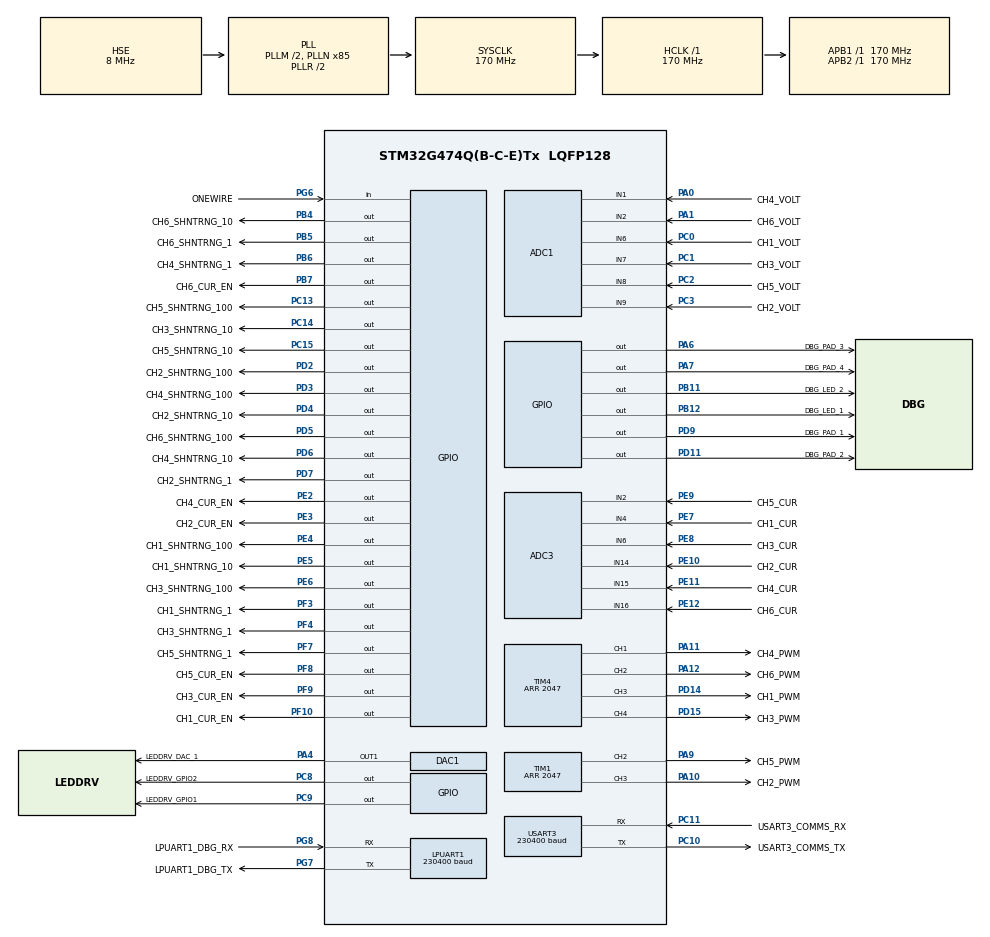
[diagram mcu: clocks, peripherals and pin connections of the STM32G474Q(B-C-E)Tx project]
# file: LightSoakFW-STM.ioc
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ADC1.Channel-1\#ChannelRegularConversion=ADC_CHANNEL_6
ADC1.Channel-2\#ChannelRegularConversion=ADC_CHANNEL_9
ADC1.Channel-3\#ChannelRegularConversion=ADC_CHANNEL_7
ADC1.Channel-4\#ChannelRegularConversion=ADC_CHANNEL_1
ADC1.Channel-5\#ChannelRegularConversion=ADC_CHANNEL_8
ADC1.Channel-6\#ChannelRegularConversion=ADC_CHANNEL_2
ADC1.DMAContinuousRequests=DISABLE
ADC1.EOCSelection=ADC_EOC_SEQ_CONV
ADC1.ExternalTrigConv=ADC_EXTERNALTRIG_T20_TRGO
ADC1.NbrOfConversion=6
ADC1.NbrOfConversionFlag=1
ADC1.OffsetNumber-1\#ChannelRegularConversion=ADC_OFFSET_NONE
ADC1.OffsetNumber-2\#ChannelRegularConversion=ADC_OFFSET_NONE
ADC1.OffsetNumber-3\#ChannelRegularConversion=ADC_OFFSET_NONE
ADC1.OffsetNumber-4\#ChannelRegularConversion=ADC_OFFSET_NONE
ADC1.OffsetNumber-5\#ChannelRegularConversion=ADC_OFFSET_NONE
ADC1.OffsetNumber-6\#ChannelRegularConversion=ADC_OFFSET_NONE
ADC1.OversamplingMode=ENABLE
ADC1.Rank-1\#ChannelRegularConversion=1
ADC1.Rank-2\#ChannelRegularConversion=2
ADC1.Rank-3\#ChannelRegularConversion=3
ADC1.Rank-4\#ChannelRegularConversion=4
ADC1.Rank-5\#ChannelRegularConversion=5
ADC1.Rank-6\#ChannelRegularConversion=6
ADC1.Ratio=ADC_OVERSAMPLING_RATIO_4
ADC1.RightBitShift=ADC_RIGHTBITSHIFT_2
ADC1.SamplingTime-1\#ChannelRegularConversion=ADC_SAMPLETIME_2CYCLES_5
ADC1.SamplingTime-2\#ChannelRegularConversion=ADC_SAMPLETIME_2CYCLES_5
ADC1.SamplingTime-3\#ChannelRegularConversion=ADC_SAMPLETIME_2CYCLES_5
ADC1.SamplingTime-4\#ChannelRegularConversion=ADC_SAMPLETIME_2CYCLES_5
ADC1.SamplingTime-5\#ChannelRegularConversion=ADC_SAMPLETIME_2CYCLES_5
ADC1.SamplingTime-6\#ChannelRegularConversion=ADC_SAMPLETIME_2CYCLES_5
ADC1.master=1
ADC3.Channel-0\#ChannelRegularConversion=ADC_CHANNEL_4
ADC3.Channel-1\#ChannelRegularConversion=ADC_CHANNEL_14
ADC3.Channel-2\#ChannelRegularConversion=ADC_CHANNEL_6
ADC3.Channel-3\#ChannelRegularConversion=ADC_CHANNEL_15
ADC3.Channel-4\#ChannelRegularConversion=ADC_CHANNEL_2
ADC3.Channel-5\#ChannelRegularConversion=ADC_CHANNEL_16
ADC3.EOCSelection=ADC_EOC_SEQ_CONV
ADC3.ExternalTrigConv=ADC_EXTERNALTRIG_T20_TRGO
ADC3.NbrOfConversion=6
ADC3.NbrOfConversionFlag=1
ADC3.OffsetNumber-0\#ChannelRegularConversion=ADC_OFFSET_NONE
ADC3.OffsetNumber-1\#ChannelRegularConversion=ADC_OFFSET_NONE
ADC3.OffsetNumber-2\#ChannelRegularConversion=ADC_OFFSET_NONE
ADC3.OffsetNumber-3\#ChannelRegularConversion=ADC_OFFSET_NONE
ADC3.OffsetNumber-4\#ChannelRegularConversion=ADC_OFFSET_NONE
ADC3.OffsetNumber-5\#ChannelRegularConversion=ADC_OFFSET_NONE
ADC3.OversamplingMode=ENABLE
ADC3.Rank-0\#ChannelRegularConversion=1
ADC3.Rank-1\#ChannelRegularConversion=2
ADC3.Rank-2\#ChannelRegularConversion=3
ADC3.Rank-3\#ChannelRegularConversion=4
ADC3.Rank-4\#ChannelRegularConversion=5
ADC3.Rank-5\#ChannelRegularConversion=6
ADC3.Ratio=ADC_OVERSAMPLING_RATIO_4
ADC3.RightBitShift=ADC_RIGHTBITSHIFT_2
ADC3.SamplingTime-0\#ChannelRegularConversion=ADC_SAMPLETIME_2CYCLES_5
ADC3.SamplingTime-1\#ChannelRegularConversion=ADC_SAMPLETIME_2CYCLES_5
ADC3.SamplingTime-2\#ChannelRegularConversion=ADC_SAMPLETIME_2CYCLES_5
ADC3.SamplingTime-3\#ChannelRegularConversion=ADC_SAMPLETIME_2CYCLES_5
ADC3.SamplingTime-4\#ChannelRegularConversion=ADC_SAMPLETIME_2CYCLES_5
ADC3.SamplingTime-5\#ChannelRegularConversion=ADC_SAMPLETIME_2CYCLES_5
ADC3.master=1
DAC1.DAC_OutputBuffer-DAC_OUT1=DAC_OUTPUTBUFFER_DISABLE
Dma.ADC1.1.Direction=DMA_PERIPH_TO_MEMORY
Dma.ADC1.1.EventEnable=DISABLE
Dma.ADC1.1.Instance=DMA1_Channel2
Dma.ADC1.1.MemDataAlignment=DMA_MDATAALIGN_HALFWORD
Dma.ADC1.1.MemInc=DMA_MINC_ENABLE
Dma.ADC1.1.Mode=DMA_NORMAL
Dma.ADC1.1.PeriphDataAlignment=DMA_PDATAALIGN_HALFWORD
Dma.ADC1.1.PeriphInc=DMA_PINC_DISABLE
Dma.ADC1.1.Polarity=HAL_DMAMUX_REQ_GEN_RISING
Dma.ADC1.1.Priority=DMA_PRIORITY_MEDIUM
Dma.ADC1.1.RequestNumber=1
Dma.ADC1.1.SignalID=NONE
Dma.ADC1.1.SyncEnable=DISABLE
Dma.ADC1.1.SyncPolarity=HAL_DMAMUX_SYNC_NO_EVENT
Dma.ADC1.1.SyncRequestNumber=1
Dma.ADC1.1.SyncSignalID=NONE
Dma.ADC3.2.Direction=DMA_PERIPH_TO_MEMORY
Dma.ADC3.2.EventEnable=DISABLE
Dma.ADC3.2.Instance=DMA1_Channel3
Dma.ADC3.2.MemDataAlignment=DMA_MDATAALIGN_HALFWORD
Dma.ADC3.2.MemInc=DMA_MINC_ENABLE
Dma.ADC3.2.Mode=DMA_NORMAL
Dma.ADC3.2.PeriphDataAlignment=DMA_PDATAALIGN_HALFWORD
Dma.ADC3.2.PeriphInc=DMA_PINC_DISABLE
Dma.ADC3.2.Polarity=HAL_DMAMUX_REQ_GEN_RISING
Dma.ADC3.2.Priority=DMA_PRIORITY_MEDIUM
Dma.ADC3.2.RequestNumber=1
Dma.ADC3.2.SignalID=NONE
Dma.ADC3.2.SyncEnable=DISABLE
Dma.ADC3.2.SyncPolarity=HAL_DMAMUX_SYNC_NO_EVENT
Dma.ADC3.2.SyncRequestNumber=1
Dma.ADC3.2.SyncSignalID=NONE
Dma.LPUART1_TX.0.Direction=DMA_MEMORY_TO_PERIPH
Dma.LPUART1_TX.0.EventEnable=DISABLE
Dma.LPUART1_TX.0.Instance=DMA1_Channel1
Dma.LPUART1_TX.0.MemDataAlignment=DMA_MDATAALIGN_BYTE
Dma.LPUART1_TX.0.MemInc=DMA_MINC_ENABLE
Dma.LPUART1_TX.0.Mode=DMA_NORMAL
Dma.LPUART1_TX.0.PeriphDataAlignment=DMA_PDATAALIGN_BYTE
Dma.LPUART1_TX.0.PeriphInc=DMA_PINC_DISABLE
Dma.LPUART1_TX.0.Polarity=HAL_DMAMUX_REQ_GEN_RISING
Dma.LPUART1_TX.0.Priority=DMA_PRIORITY_MEDIUM
Dma.LPUART1_TX.0.RequestNumber=1
Dma.LPUART1_TX.0.SignalID=NONE
Dma.LPUART1_TX.0.SyncEnable=DISABLE
Dma.LPUART1_TX.0.SyncPolarity=HAL_DMAMUX_SYNC_NO_EVENT
Dma.LPUART1_TX.0.SyncRequestNumber=1
Dma.LPUART1_TX.0.SyncSignalID=NONE
Dma.Request0=LPUART1_TX
Dma.Request1=ADC1
Dma.Request2=ADC3
LPUART1.BaudRate=230400
LPUART1.Mode=UART_MODE_TX
LPUART1.SwapParam=UART_ADVFEATURE_SWAP_ENABLE
Mcu.Family=STM32G4
Mcu.Name=STM32G474Q(B-C-E)Tx
Mcu.Package=LQFP128
NVIC.ADC1_2_IRQn=true\:0\:0\:false\:false\:true\:true\:true\:true
NVIC.ADC3_IRQn=true\:0\:0\:false\:false\:true\:true\:true\:true
NVIC.DMA1_Channel1_IRQn=true\:0\:0\:false\:false\:true\:false\:true\:true
NVIC.DMA1_Channel2_IRQn=true\:0\:0\:false\:false\:true\:false\:true\:true
NVIC.DMA1_Channel3_IRQn=true\:0\:0\:false\:false\:true\:false\:true\:true
NVIC.LPUART1_IRQn=true\:0\:0\:false\:false\:true\:true\:true\:true
NVIC.PriorityGroup=NVIC_PRIORITYGROUP_4
NVIC.TIM20_TRG_COM_IRQn=true\:0\:0\:false\:false\:true\:true\:true\:true
NVIC.TIM20_UP_IRQn=true\:0\:0\:false\:false\:true\:true\:true\:true
NVIC.TIM2_IRQn=true\:0\:0\:false\:false\:true\:true\:true\:true
NVIC.USART3_IRQn=true\:0\:0\:false\:false\:true\:true\:true\:true
PA0.GPIO_Label=CH4_VOLT
PA0.Mode=IN1-Single-Ended
PA0.Signal=ADC1_IN1
PA1.GPIO_Label=CH6_VOLT
PA1.Mode=IN2-Single-Ended
PA1.Signal=ADC1_IN2
PA10.GPIO_Label=CH2_PWM
PA10.Signal=S_TIM1_CH3
PA11.GPIO_Label=CH4_PWM
PA11.Signal=S_TIM4_CH1
PA12.GPIO_Label=CH6_PWM
PA12.Signal=S_TIM4_CH2
PA13.Mode=Trace_Asynchronous_SW
PA13.Signal=SYS_JTMS-SWDIO
PA14.Mode=Trace_Asynchronous_SW
PA14.Signal=SYS_JTCK-SWCLK
PA15.Signal=SYS_JTDI
PA4.GPIO_Label=LEDDRV_DAC_1
PA4.Signal=COMP_DAC11_group
PA5.GPIO_Label=LEDDRV_DAC_2
PA5.Signal=COMP_DAC12_group
PA6.GPIO_Label=DBG_PAD_3
PA6.Signal=GPIO_Output
PA7.GPIO_Label=DBG_PAD_4
PA7.Signal=GPIO_Output
PA9.GPIO_Label=CH5_PWM
PA9.Signal=S_TIM1_CH2
PB11.GPIO_Label=DBG_LED_2
PB11.Signal=GPIO_Output
PB12.GPIO_Label=DBG_LED_1
PB12.Signal=GPIO_Output
PB3.Mode=Trace_Asynchronous_SW
PB3.Signal=SYS_JTDO-SWO
PB4.GPIO_Label=CH6_SHNTRNG_10
PB4.Signal=GPIO_Output
PB5.GPIO_Label=CH6_SHNTRNG_1
PB5.Signal=GPIO_Output
PB6.GPIO_Label=CH4_SHNTRNG_1
PB6.Signal=GPIO_Output
PB7.GPIO_Label=CH6_CUR_EN
PB7.Signal=GPIO_Output
PC0.GPIO_Label=CH1_VOLT
PC0.Mode=IN6-Single-Ended
PC0.Signal=ADC1_IN6
PC1.GPIO_Label=CH3_VOLT
PC1.Mode=IN7-Single-Ended
PC1.Signal=ADC1_IN7
PC10.GPIO_Label=USART3_COMMS_TX
PC10.Mode=Asynchronous
PC10.Signal=USART3_TX
PC11.GPIO_Label=USART3_COMMS_RX
PC11.Mode=Asynchronous
PC11.Signal=USART3_RX
PC13.GPIO_Label=CH5_SHNTRNG_100
PC13.Signal=GPIO_Output
PC14-OSC32_IN.GPIO_Label=CH3_SHNTRNG_10
PC14-OSC32_IN.Signal=GPIO_Output
PC15-OSC32_OUT.GPIO_Label=CH5_SHNTRNG_10
PC15-OSC32_OUT.Signal=GPIO_Output
PC2.GPIO_Label=CH5_VOLT
PC2.Mode=IN8-Single-Ended
PC2.Signal=ADC1_IN8
PC3.GPIO_Label=CH2_VOLT
PC3.Mode=IN9-Single-Ended
PC3.Signal=ADC1_IN9
PC8.GPIO_Label=LEDDRV_GPIO2
PC8.Signal=GPIO_Output
PC9.GPIO_Label=LEDDRV_GPIO1
PC9.Signal=GPIO_Output
PD11.GPIO_Label=DBG_PAD_2
PD11.Signal=GPIO_Output
PD14.GPIO_Label=CH1_PWM
PD14.Signal=S_TIM4_CH3
PD15.GPIO_Label=CH3_PWM
PD15.Signal=S_TIM4_CH4
PD2.GPIO_Label=CH2_SHNTRNG_100
PD2.Signal=GPIO_Output
PD3.GPIO_Label=CH4_SHNTRNG_100
PD3.Signal=GPIO_Output
PD4.GPIO_Label=CH2_SHNTRNG_10
PD4.Signal=GPIO_Output
PD5.GPIO_Label=CH6_SHNTRNG_100
PD5.Signal=GPIO_Output
PD6.GPIO_Label=CH4_SHNTRNG_10
PD6.Signal=GPIO_Output
PD7.GPIO_Label=CH2_SHNTRNG_1
PD7.Signal=GPIO_Output
PD9.GPIO_Label=DBG_PAD_1
PD9.Signal=GPIO_Output
PE0.GPIO_Label=USART1_TEC_TX
PE0.Signal=USART1_TX
PE1.GPIO_Label=USART1_TEC_RX
PE1.Signal=USART1_RX
PE10.GPIO_Label=CH2_CUR
PE10.Mode=IN14-Single-Ended
PE10.Signal=ADC3_IN14
PE11.GPIO_Label=CH4_CUR
PE11.Mode=IN15-Single-Ended
PE11.Signal=ADC3_IN15
PE12.GPIO_Label=CH6_CUR
PE12.Mode=IN16-Single-Ended
PE12.Signal=ADC3_IN16
PE2.GPIO_Label=CH4_CUR_EN
PE2.Signal=GPIO_Output
PE3.GPIO_Label=CH2_CUR_EN
PE3.Signal=GPIO_Output
PE4.GPIO_Label=CH1_SHNTRNG_100
PE4.Signal=GPIO_Output
PE5.GPIO_Label=CH1_SHNTRNG_10
PE5.Signal=GPIO_Output
PE6.GPIO_Label=CH3_SHNTRNG_100
PE6.Signal=GPIO_Output
PE7.GPIO_Label=CH1_CUR
PE7.Mode=IN4-Single-Ended
PE7.Signal=ADC3_IN4
PE8.GPIO_Label=CH3_CUR
PE8.Mode=IN6-Single-Ended
PE8.Signal=ADC3_IN6
PE9.GPIO_Label=CH5_CUR
PE9.Mode=IN2-Single-Ended
PE9.Signal=ADC3_IN2
PF0-OSC_IN.Mode=HSE-External-Oscillator
PF0-OSC_IN.Signal=RCC_OSC_IN
PF1-OSC_OUT.Mode=HSE-External-Oscillator
PF1-OSC_OUT.Signal=RCC_OSC_OUT
PF10.GPIO_Label=CH1_CUR_EN
PF10.Signal=GPIO_Output
PF3.GPIO_Label=CH1_SHNTRNG_1
PF3.Signal=GPIO_Output
PF4.GPIO_Label=CH3_SHNTRNG_1
PF4.Signal=GPIO_Output
PF7.GPIO_Label=CH5_SHNTRNG_1
PF7.Signal=GPIO_Output
PF8.GPIO_Label=CH5_CUR_EN
PF8.Signal=GPIO_Output
PF9.GPIO_Label=CH3_CUR_EN
PF9.Signal=GPIO_Output
PG6.GPIO_Label=ONEWIRE
PG6.Signal=GPIO_Input
PG7.GPIO_Label=LPUART1_DBG_TX
PG7.Mode=Asynchronous
PG7.Signal=LPUART1_TX
PG8.GPIO_Label=LPUART1_DBG_RX
PG8.Mode=Asynchronous
PG8.Signal=LPUART1_RX
ProjectManager.HeapSize=0x400
ProjectManager.StackSize=0x4000
ProjectManager.TargetToolchain=STM32CubeIDE
RCC.ADC12Freq_Value=170000000
RCC.ADC345Freq_Value=170000000
RCC.AHBFreq_Value=170000000
RCC.APB1Freq_Value=170000000
RCC.APB1TimFreq_Value=170000000
RCC.APB2Freq_Value=170000000
RCC.APB2TimFreq_Value=170000000
RCC.CortexFreq_Value=170000000
RCC.EXTERNAL_CLOCK_VALUE=12288000
RCC.HCLKFreq_Value=170000000
RCC.HSE_VALUE=8000000
RCC.HSI48_VALUE=48000000
RCC.HSI_VALUE=16000000
RCC.LSE_VALUE=32768
RCC.PLLM=RCC_PLLM_DIV2
RCC.PLLN=85
RCC.PLLSourceVirtual=RCC_PLLSOURCE_HSE
RCC.SYSCLKFreq_VALUE=170000000
RCC.SYSCLKSource=RCC_SYSCLKSOURCE_PLLCLK
RCC.USBFreq_Value=170000000
RCC.VCOOutputFreq_Value=340000000
SH.COMP_DAC11_group.0=DAC1_OUT1,DAC_OUT1
SH.COMP_DAC12_group.0=DAC1_OUT2
SH.S_TIM1_CH2.0=TIM1_CH2,PWM Generation2 CH2
SH.S_TIM1_CH3.0=TIM1_CH3,PWM Generation3 CH3
SH.S_TIM4_CH1.0=TIM4_CH1,PWM Generation1 CH1
SH.S_TIM4_CH2.0=TIM4_CH2,PWM Generation2 CH2
SH.S_TIM4_CH3.0=TIM4_CH3,PWM Generation3 CH3
SH.S_TIM4_CH4.0=TIM4_CH4,PWM Generation4 CH4
TIM1.AutoReloadPreload=TIM_AUTORELOAD_PRELOAD_ENABLE
TIM1.Channel-PWM\ Generation2\ CH2=TIM_CHANNEL_2
TIM1.Channel-PWM\ Generation3\ CH3=TIM_CHANNEL_3
TIM1.PeriodNoDither=2047
TIM1.PulseNoDither_2=2047
TIM1.PulseNoDither_3=2047
TIM2.Prescaler=169
TIM20.PeriodNoDither=1699
TIM20.TIM_MasterOutputTrigger=TIM_TRGO_UPDATE
TIM4.AutoReloadPreload=TIM_AUTORELOAD_PRELOAD_ENABLE
TIM4.Channel-PWM\ Generation1\ CH1=TIM_CHANNEL_1
TIM4.Channel-PWM\ Generation2\ CH2=TIM_CHANNEL_2
TIM4.Channel-PWM\ Generation3\ CH3=TIM_CHANNEL_3
TIM4.Channel-PWM\ Generation4\ CH4=TIM_CHANNEL_4
TIM4.PeriodNoDither=2047
TIM4.PulseNoDither_1=2047
TIM4.PulseNoDither_2=2047
TIM4.PulseNoDither_3=2047
TIM4.PulseNoDither_4=2047
USART3.BaudRate=230400
USART3.OverSampling=UART_OVERSAMPLING_8
USART3.OverrunDisableParam=ADVFEATURE_OVERRUN_DISABLE
USART3.VirtualMode-Asynchronous=VM_ASYNC
VP_SYS_VS_DBSignals.Mode=DisableDeadBatterySignals
VP_SYS_V_VREFBUF.Mode=ExternalMode
VP_TIM20_VS_ClockSourceINT.Mode=Internal
VP_TIM2_VS_ClockSourceINT.Mode=Internal
board=custom

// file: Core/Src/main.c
/* USER CODE BEGIN Header */
/**
  ******************************************************************************
  * @file           : main.c
  * @brief          : Main program body
  ******************************************************************************
  * @attention
  *
  * Copyright (c) 2023 STMicroelectronics.
  * All rights reserved.
  *
  * This software is licensed under terms that can be found in the LICENSE file
  * in the root directory of this software component.
  * If no LICENSE file comes with this software, it is provided AS-IS.
  *
  ******************************************************************************
  */
/* USER CODE END Header */
#include "main.h"
#include "adc.h"
#include "dac.h"
#include "dma.h"
#include "usart.h"
#include "tim.h"
#include "gpio.h"

/* USER CODE BEGIN Includes */
#include "front_end_control.h"
#include "debug.h"
#include "led_control.h"
#include "micro_sec.h"
#include "daq.h"
#include "measurements.h"
#include "main_serial.h"
#include "lwshell/lwshell.h"
#include "cmd_line_support.h"
#include "ds18b20.h"
#include "UserGPIO.h"
/* USER CODE END Includes */

/* USER CODE BEGIN PV */
uint32_t temptime = 0;
uint32_t ledtemptime = 0;

/* USER CODE END PV */

void SystemClock_Config(void);

int main(void)
{

  /* MCU Configuration--------------------------------------------------------*/

  /* Reset of all peripherals, Initializes the Flash interface and the Systick. */
  HAL_Init();

  /* Configure the system clock */
  SystemClock_Config();

  /* Initialize all configured peripherals */
  MX_GPIO_Init();
  MX_DMA_Init();
  MX_ADC1_Init();
  MX_ADC3_Init();
  MX_DAC1_Init();
  MX_USART3_UART_Init();
  MX_LPUART1_UART_Init();
  MX_TIM1_Init();
  MX_TIM4_Init();
  MX_TIM20_Init();
  MX_TIM2_Init();
  /* USER CODE BEGIN 2 */

  dbg(Warning, "Booting LighSoak V1...\r\n");
  dbg(Warning, "Firmware version: %s\r\n", FW_VERSION);
  dbg(Warning, "FW compiled: %s %s\r\n", __DATE__, __TIME__);
  dbg(Warning, "System clock: %d MHz\r\n", SystemCoreClock/1000000);
  dbg(Warning, "Initializing modules...\r\n");

  mainser_init();
  fec_init();
  ledctrl_init();
  usec_init();
  daq_init();
  ds18b20_init();

  dbg(Warning, "Modules initialized!\r\n");

  HAL_Delay(1000);

  //enable CLI
  cmdsprt_setup_cli();

  dbg(Warning, "CLI initialized!\r\n");

  //turn on active LED
  //HAL_GPIO_WritePin(DBG_LED_1_GPIO_Port, DBG_LED_1_Pin, GPIO_PIN_SET);
  L1On();
  dbg(Warning, "Ready LED on.\r\n");

//  fec_set_shunt_10x(1);
//  fec_set_force_voltage(1, 0.1f);
//  fec_enable_current(1);

  /* USER CODE END 2 */

  /* Infinite loop */
  /* USER CODE BEGIN WHILE */
  while (1)
  {

//////    dbg(Debug, "prepare for sample\r\n");
////    daq_prepare_for_sampling(1000);
//////    dbg(Debug, "prepare done\r\n");
////    HAL_Delay(10);
//////    dbg(Debug, "start sampling\r\n");
////    t1 = usec_get_timestamp_64();
////    daq_start_sampling();
//////    dbg(Debug, "sampling started\r\n");
////    while(!daq_is_sampling_done());
////    t2 = usec_get_timestamp_64();
//////    dbg(Debug, "sampling done. took: %d\r\n", t2-t1);
//////    dbg(Debug, "started sampling at: %llu\r\n", t1);
////
////    t_daq_sample_raw avg = daq_volt_raw_get_average(1000);
////    dbg(Debug, "avg voltage ch1: %d, at timestamp: %llu\r\n", avg.ch1, avg.timestamp);
////
////    t_daq_sample_raw avgcur = daq_curr_raw_get_average(1000);
////    dbg(Debug, "avg current ch1: %d, at timestamp: %llu\r\n", avgcur.ch1, avgcur.timestamp);
////
////    dbg(Debug, "preforming single shot measures...\r\n");
//
//    t_daq_sample_convd single_volt = daq_single_shot_volt(100);
//    t_daq_sample_convd single_curr = daq_single_shot_curr_no_autorng(100);
//
//    dbg(Warning, "single shot voltage: %f\r\n", single_volt.ch1);
//    dbg(Warning, "single shot current: %f\r\n", single_curr.ch1);

//    meas_get_current(0);

//    meas_get_voltage(0);

//    meas_basic_volt_test_dump_single_ch(1, 10);
//    meas_get_voltage_and_current(0);

//    meas_get_IV_point(1, 0.12f, 1);
//    meas_get_voltage(0);

//    prv_meas_dump_from_buffer_human_readable_volt(0, 32);
//    prv_meas_dump_from_buffer_human_readable_volt(1, 1000);
//    meas_volt_sample_and_dump(1, 500);
//    meas_get_iv_characteristic(1, 0.06f, 0.2f, 0.01f);
//    meas_get_voltage_and_current(1);

    dbg(Warning, "Starting main loop!\r\n");

    int64_t time_to_cmd=0, t1;

    while(1) {
      if (mainser_available()) {
        char c = mainser_read();
        lwshell_input(&c, 1);
      }

      if ((HAL_GetTick()-temptime > 1000) && (time_to_cmd > LEDCTRL_TEMP_READ_TIME_US)){
        temptime = HAL_GetTick();
        t1 = usec_get_timestamp_64();
        ds18b20_handler();	//Takes about 6ms
        ledctrl_handler();	//Takes about 70us and only makes sense if temperature has just been measured
        if(LEDCTRL_PERIODIC_TEMP_REPORT_MAINSER){
          mainser_printf("\r\n");
          ledctrl_print_temperature_mainser();
        }
        time_to_cmd -= usec_get_timestamp_64() - t1;  //There should never be any problems with over/uderflow,
                                                      //because time_to_cmd should always be much larger
                                                      //than the time needed for the above tasks
      }

      if (time_to_cmd > MPPT_DURATION)
      {
        mppt(); //if mppt is not (manually) switched on, it will immediately return
      }
      time_to_cmd = cmdsched_handler();
    }

//    HAL_Delay(30000);

//    dbg(Warning, "   \r\n");

    /* USER CODE END WHILE */

  }
}

void SystemClock_Config(void)
{
  RCC_OscInitTypeDef RCC_OscInitStruct = {0};
  RCC_ClkInitTypeDef RCC_ClkInitStruct = {0};

  /** Configure the main internal regulator output voltage
  */
  HAL_PWREx_ControlVoltageScaling(PWR_REGULATOR_VOLTAGE_SCALE1_BOOST);

  /** Initializes the RCC Oscillators according to the specified parameters
  * in the RCC_OscInitTypeDef structure.
  */
  RCC_OscInitStruct.OscillatorType = RCC_OSCILLATORTYPE_HSE;
  RCC_OscInitStruct.HSEState = RCC_HSE_ON;
  RCC_OscInitStruct.PLL.PLLState = RCC_PLL_ON;
  RCC_OscInitStruct.PLL.PLLSource = RCC_PLLSOURCE_HSE;
  RCC_OscInitStruct.PLL.PLLM = RCC_PLLM_DIV2;
  RCC_OscInitStruct.PLL.PLLN = 85;
  RCC_OscInitStruct.PLL.PLLP = RCC_PLLP_DIV2;
  RCC_OscInitStruct.PLL.PLLQ = RCC_PLLQ_DIV2;
  RCC_OscInitStruct.PLL.PLLR = RCC_PLLR_DIV2;
  if (HAL_RCC_OscConfig(&RCC_OscInitStruct) != HAL_OK)
  {
    Error_Handler();
  }

  /** Initializes the CPU, AHB and APB buses clocks
  */
  RCC_ClkInitStruct.ClockType = RCC_CLOCKTYPE_HCLK|RCC_CLOCKTYPE_SYSCLK
                              |RCC_CLOCKTYPE_PCLK1|RCC_CLOCKTYPE_PCLK2;
  RCC_ClkInitStruct.SYSCLKSource = RCC_SYSCLKSOURCE_PLLCLK;
  RCC_ClkInitStruct.AHBCLKDivider = RCC_SYSCLK_DIV1;
  RCC_ClkInitStruct.APB1CLKDivider = RCC_HCLK_DIV1;
  RCC_ClkInitStruct.APB2CLKDivider = RCC_HCLK_DIV1;

  if (HAL_RCC_ClockConfig(&RCC_ClkInitStruct, FLASH_LATENCY_4) != HAL_OK)
  {
    Error_Handler();
  }
}

void Error_Handler(void)
{
  __disable_irq();
  while (1)
  {
  }
}

#ifdef  USE_FULL_ASSERT
/**
  * @brief  Reports the name of the source file and the source line number
  *         where the assert_param error has occurred.
  * @param  file: pointer to the source file name
  * @param  line: assert_param error line source number
  * @retval None
  */
void assert_failed(uint8_t *file, uint32_t line)
{
  /* USER CODE BEGIN 6 */
  dbg(Error, "Assert failed!!! file %s on line %d\r\n", file, line);
  HAL_Delay(100);
  //dissable all interrupts
  __disable_irq();
  while(1)
  {
  }
  /* User can add his own implementation to report the file name and line number,
     ex: printf("Wrong parameters value: file %s on line %d\r\n", file, line) */
  /* USER CODE END 6 */
}
#endif /* USE_FULL_ASSERT */
